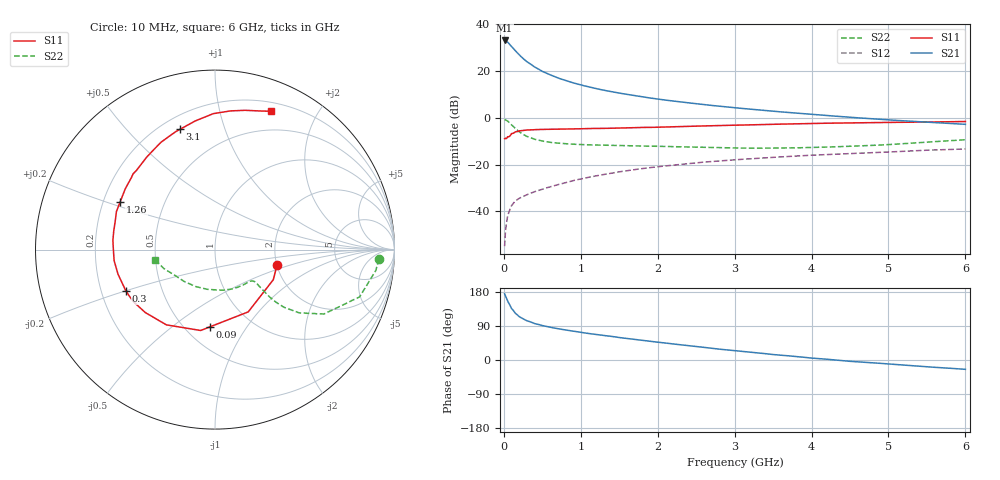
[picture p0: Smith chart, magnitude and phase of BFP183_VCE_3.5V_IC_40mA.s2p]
! Infineon Technologies  Discrete & RF Semiconductors
! BFP183
! VCE = 3.5 V,  IC =  40 mA
! Common Emitter S-Parameters:  Jan 2016
# GHz  S  MA  R  50
!  f  S11  S21  S12  S22
! GHz  MAG  ANG  MAG  ANG  MAG  ANG  MAG  ANG
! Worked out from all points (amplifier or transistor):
!   210 points, 10 MHz to 6 GHz, reference 50 ohm
!   highest |S21| = 33.0 dB at 10 MHz (marker M1)
!   |S21| within 3 dB of that: start of sweep to 112.6 MHz
!   unconditionally stable (mu >= 1): 481.5 MHz to 5.902 GHz
!   at 185 MHz: K = 0.58, MSG = 31.1 dB, |S12| = -34.8 dB
!   at 1.52 GHz: K = 1.24, MAG = 13.8 dB, |S12| = -23.0 dB
!   at 6 GHz: K = 0.98, MSG = 5.3 dB, |S12| = -13.4 dB
!   S11 on the Smith chart (normalised r, x): 10 MHz: 2.01, -0.38; 90 MHz: 0.66, -0.69; 300 MHz: 0.31, -0.20; 1.26 GHz: 0.27, +0.22; 3.1 GHz: 0.27, +0.71; 6 GHz: 0.29, +1.44
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0.01  0.3563 -13.5  44.84 174.5  0.0018 81.7  0.915 -3.3
0.02  0.3656 -27.3  44.68 169.6  0.0035 82.2  0.9035 -7.4
0.05  0.3933 -61.9  41.46 154.7  0.008 72.6  0.8477 -18.1
0.09  0.4308 -93.6  34.78 140.3  0.0121 59.3  0.7305 -27.7
0.1  0.4578 -100.1  33.54 135.9  0.0132 57.3  0.7051 -30.6
0.15  0.4992 -122.9  26.95 123.2  0.0167 53.1  0.5871 -36.9
0.2  0.5232 -137.9  22.02 114.4  0.0189 52.2  0.5006 -39.9
0.26  0.5413 -149.4  17.84 107.3  0.0212 51.2  0.4332 -40.9
0.3  0.5473 -155.1  15.76 103.5  0.0227 52.0  0.3992 -40.9
0.4  0.5575 -165.8  12.15 96.1  0.0263 53.7  0.3473 -40.2
0.5  0.5655 -173.8  9.796 90.9  0.0296 55.5  0.3167 -39.5
0.6  0.5662 -179.5  8.293 86.5  0.0334 57.0  0.2981 -39.0
0.7  0.5712 174.7  7.086 82.6  0.0371 58.3  0.2863 -38.8
0.8  0.5735 170.4  6.264 79.2  0.0406 58.9  0.2788 -39.2
1.02  0.5825 161.6  4.924 72.4  0.0498 59.3  0.2665 -40.9
1.26  0.5912 153.4  3.994 65.9  0.0597 58.8  0.2601 -44.1
1.52  0.6044 145.5  3.319 58.8  0.0706 57.9  0.2544 -48.2
2.02  0.6283 130.9  2.476 46.6  0.0905 53.8  0.2455 -58.6
3.1  0.698 106.3  1.58 22.8  0.1294 43.8  0.2247 -88.3
4.1  0.7604 89.4  1.15 3.6  0.1608 34.3  0.2337 -121.2
5.1  0.7964 76.8  0.878 -11.9  0.1884 26.1  0.2728 -150.3
6  0.8308 68.1  0.723 -24.6  0.215 17.3  0.3386 -170.2
